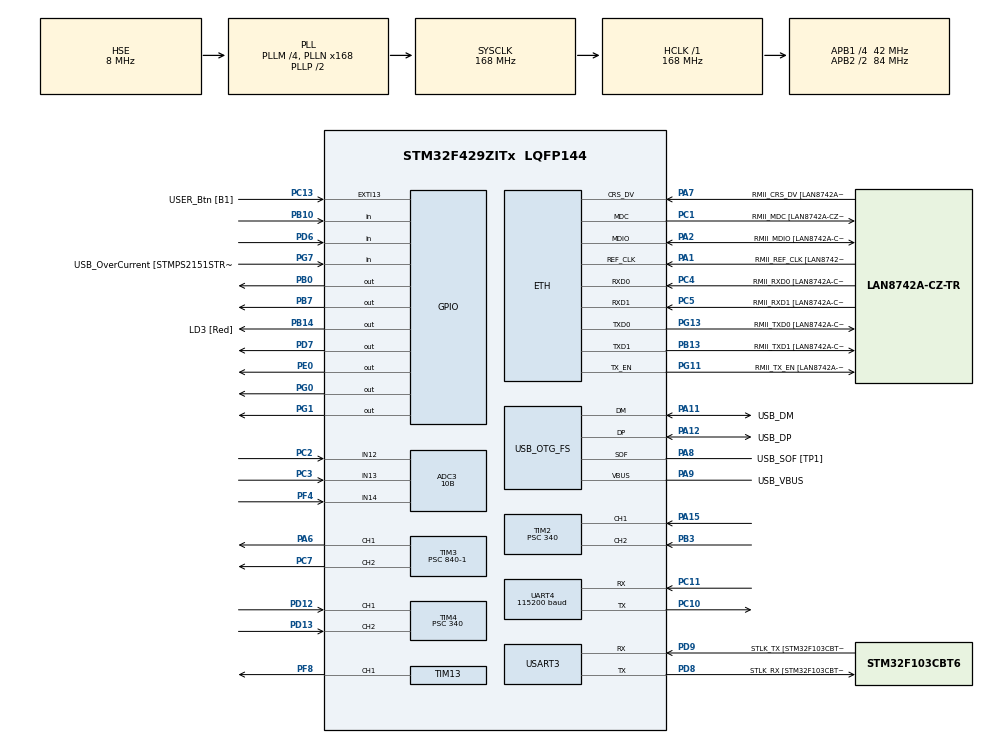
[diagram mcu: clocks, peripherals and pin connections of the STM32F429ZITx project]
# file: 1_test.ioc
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ADC3.Channel-3\#ChannelRegularConversion=ADC_CHANNEL_12
ADC3.Channel-4\#ChannelRegularConversion=ADC_CHANNEL_13
ADC3.Channel-5\#ChannelRegularConversion=ADC_CHANNEL_14
ADC3.ContinuousConvMode=DISABLE
ADC3.DMAContinuousRequests=ENABLE
ADC3.ExternalTrigConv=ADC_EXTERNALTRIGCONV_T8_TRGO
ADC3.NbrOfConversion=3
ADC3.NbrOfConversionFlag=1
ADC3.Rank-3\#ChannelRegularConversion=1
ADC3.Rank-4\#ChannelRegularConversion=2
ADC3.Rank-5\#ChannelRegularConversion=3
ADC3.Resolution=ADC_RESOLUTION_10B
ADC3.SamplingTime-3\#ChannelRegularConversion=ADC_SAMPLETIME_480CYCLES
ADC3.SamplingTime-4\#ChannelRegularConversion=ADC_SAMPLETIME_480CYCLES
ADC3.SamplingTime-5\#ChannelRegularConversion=ADC_SAMPLETIME_480CYCLES
ADC3.ScanConvMode=ENABLE
Dma.ADC3.1.Direction=DMA_PERIPH_TO_MEMORY
Dma.ADC3.1.FIFOMode=DMA_FIFOMODE_DISABLE
Dma.ADC3.1.Instance=DMA2_Stream1
Dma.ADC3.1.MemDataAlignment=DMA_MDATAALIGN_HALFWORD
Dma.ADC3.1.MemInc=DMA_MINC_ENABLE
Dma.ADC3.1.Mode=DMA_CIRCULAR
Dma.ADC3.1.PeriphDataAlignment=DMA_PDATAALIGN_HALFWORD
Dma.ADC3.1.PeriphInc=DMA_PINC_DISABLE
Dma.ADC3.1.Priority=DMA_PRIORITY_LOW
Dma.Request0=TIM4_UP
Dma.Request1=ADC3
Dma.TIM4_UP.0.Direction=DMA_PERIPH_TO_MEMORY
Dma.TIM4_UP.0.FIFOMode=DMA_FIFOMODE_DISABLE
Dma.TIM4_UP.0.Instance=DMA1_Stream6
Dma.TIM4_UP.0.MemDataAlignment=DMA_MDATAALIGN_HALFWORD
Dma.TIM4_UP.0.MemInc=DMA_MINC_ENABLE
Dma.TIM4_UP.0.Mode=DMA_NORMAL
Dma.TIM4_UP.0.PeriphDataAlignment=DMA_PDATAALIGN_HALFWORD
Dma.TIM4_UP.0.PeriphInc=DMA_PINC_DISABLE
Dma.TIM4_UP.0.Priority=DMA_PRIORITY_LOW
ETH.MediaInterface=HAL_ETH_RMII_MODE
ETH.PHY_Name=LAN8742A_PHY_ADDRESS
ETH.PHY_Value=0
ETH.PhyAddress=0
Mcu.Family=STM32F4
Mcu.Name=STM32F429ZITx
Mcu.Package=LQFP144
NVIC.ADC_IRQn=true\:0\:0\:false\:false\:true\:true\:true\:true
NVIC.DMA1_Stream6_IRQn=true\:0\:0\:false\:false\:true\:false\:true\:true
NVIC.DMA2_Stream1_IRQn=true\:0\:0\:false\:false\:true\:false\:true\:true
NVIC.PriorityGroup=NVIC_PRIORITYGROUP_4
NVIC.TIM3_IRQn=true\:0\:0\:false\:false\:true\:true\:true\:true
NVIC.TIM6_DAC_IRQn=true\:6\:0\:true\:false\:true\:true\:true\:true
NVIC.TIM8_TRG_COM_TIM14_IRQn=true\:0\:0\:false\:false\:true\:true\:true\:true
NVIC.TIM8_UP_TIM13_IRQn=true\:0\:0\:false\:false\:true\:true\:true\:true
NVIC.UART4_IRQn=true\:0\:0\:false\:false\:true\:true\:true\:true
NVIC.USART3_IRQn=true\:0\:0\:false\:false\:true\:true\:true\:true
PA1.GPIO_Label=RMII_REF_CLK [LAN8742A-CZ-TR_REFCLK0]
PA1.Mode=RMII
PA1.Signal=ETH_REF_CLK
PA10.GPIO_Label=USB_ID
PA10.Signal=USB_OTG_FS_ID
PA11.GPIO_Label=USB_DM
PA11.Mode=Device_Only
PA11.Signal=USB_OTG_FS_DM
PA12.GPIO_Label=USB_DP
PA12.Mode=Device_Only
PA12.Signal=USB_OTG_FS_DP
PA13.GPIO_Label=TMS
PA13.Mode=Serial_Wire
PA13.Signal=SYS_JTMS-SWDIO
PA14.GPIO_Label=TCK
PA14.Mode=Serial_Wire
PA14.Signal=SYS_JTCK-SWCLK
PA15.Signal=S_TIM2_CH1_ETR
PA2.GPIO_Label=RMII_MDIO [LAN8742A-CZ-TR_MDIO]
PA2.Mode=RMII
PA2.Signal=ETH_MDIO
PA6.Signal=S_TIM3_CH1
PA7.GPIO_Label=RMII_CRS_DV [LAN8742A-CZ-TR_CRS_DV]
PA7.Mode=RMII
PA7.Signal=ETH_CRS_DV
PA8.GPIO_Label=USB_SOF [TP1]
PA8.Mode=Activate_SOF_FS
PA8.Signal=USB_OTG_FS_SOF
PA9.GPIO_Label=USB_VBUS
PA9.Mode=Activate_VBUS
PA9.Signal=USB_OTG_FS_VBUS
PB0.Signal=GPIO_Output
PB10.Signal=GPIO_Input
PB13.GPIO_Label=RMII_TXD1 [LAN8742A-CZ-TR_TXD1]
PB13.Mode=RMII
PB13.Signal=ETH_TXD1
PB14.GPIO_Label=LD3 [Red]
PB14.Signal=GPIO_Output
PB3.Signal=S_TIM2_CH2
PB7.Signal=GPIO_Output
PC1.GPIO_Label=RMII_MDC [LAN8742A-CZ-TR_MDC]
PC1.Mode=RMII
PC1.Signal=ETH_MDC
PC10.Mode=Asynchronous
PC10.Signal=UART4_TX
PC11.Mode=Asynchronous
PC11.Signal=UART4_RX
PC13.GPIO_Label=USER_Btn [B1]
PC13.Signal=GPXTI13
PC14/OSC32_IN.Mode=LSE-External-Oscillator
PC14/OSC32_IN.Signal=RCC_OSC32_IN
PC15/OSC32_OUT.Mode=LSE-External-Oscillator
PC15/OSC32_OUT.Signal=RCC_OSC32_OUT
PC2.Signal=ADCx_IN12
PC3.Signal=ADCx_IN13
PC4.GPIO_Label=RMII_RXD0 [LAN8742A-CZ-TR_RXD0]
PC4.Mode=RMII
PC4.Signal=ETH_RXD0
PC5.GPIO_Label=RMII_RXD1 [LAN8742A-CZ-TR_RXD1]
PC5.Mode=RMII
PC5.Signal=ETH_RXD1
PC7.Signal=S_TIM3_CH2
PD12.Signal=S_TIM4_CH1
PD13.Signal=S_TIM4_CH2
PD6.Signal=GPIO_Input
PD7.Signal=GPIO_Output
PD8.GPIO_Label=STLK_RX [STM32F103CBT6_PA3]
PD8.Mode=Asynchronous
PD8.Signal=USART3_TX
PD9.GPIO_Label=STLK_TX [STM32F103CBT6_PA2]
PD9.Mode=Asynchronous
PD9.Signal=USART3_RX
PE0.Signal=GPIO_Output
PF4.Mode=IN14
PF4.Signal=ADC3_IN14
PF8.Signal=S_TIM13_CH1
PG0.Signal=GPIO_Output
PG1.Signal=GPIO_Output
PG11.GPIO_Label=RMII_TX_EN [LAN8742A-CZ-TR_TXEN]
PG11.Mode=RMII
PG11.Signal=ETH_TX_EN
PG13.GPIO_Label=RMII_TXD0 [LAN8742A-CZ-TR_TXD0]
PG13.Mode=RMII
PG13.Signal=ETH_TXD0
PG7.GPIO_Label=USB_OverCurrent [STMPS2151STR_FAULT]
PG7.Signal=GPIO_Input
PH0/OSC_IN.GPIO_Label=MCO [STM32F103CBT6_PA8]
PH0/OSC_IN.Mode=HSE-External-Clock-Source
PH0/OSC_IN.Signal=RCC_OSC_IN
PH1/OSC_OUT.Mode=HSE-External-Clock-Source
PH1/OSC_OUT.Signal=RCC_OSC_OUT
ProjectManager.HeapSize=0x200
ProjectManager.StackSize=0x400
ProjectManager.TargetToolchain=STM32CubeIDE
RCC.48MHZClocksFreq_Value=48000000
RCC.AHBFreq_Value=168000000
RCC.APB1CLKDivider=RCC_HCLK_DIV4
RCC.APB1Freq_Value=42000000
RCC.APB1TimFreq_Value=84000000
RCC.APB2CLKDivider=RCC_HCLK_DIV2
RCC.APB2Freq_Value=84000000
RCC.APB2TimCLKDivider=2
RCC.APB2TimFreq_Value=168000000
RCC.CortexFreq_Value=168000000
RCC.HCLKFreq_Value=168000000
RCC.HSE_VALUE=8000000
RCC.HSI_VALUE=16000000
RCC.PLLM=4
RCC.PLLMUL=RCC_PLL_MUL9
RCC.PLLN=168
RCC.PLLQ=7
RCC.PRESCALERUSB=RCC_USBCLKSOURCE_PLL_DIV1_5
RCC.SYSCLKFreq_VALUE=168000000
RCC.SYSCLKSource=RCC_SYSCLKSOURCE_PLLCLK
RCC.SYSCLKSourceVirtual=RCC_SYSCLKSOURCE_PLLCLK
RCC.USBFreq_Value=48000000
RCC.VCOOutputFreq_Value=336000000
SH.ADCx_IN12.0=ADC3_IN12,IN12
SH.ADCx_IN13.0=ADC3_IN13,IN13
SH.S_TIM13_CH1.0=TIM13_CH1,PWM Generation1 CH1
SH.S_TIM2_CH1_ETR.0=TIM2_CH1,Encoder_Interface
SH.S_TIM2_CH2.0=TIM2_CH2,Encoder_Interface
SH.S_TIM3_CH1.0=TIM3_CH1,PWM Generation1 CH1
SH.S_TIM3_CH2.0=TIM3_CH2,PWM Generation2 CH2
SH.S_TIM4_CH1.0=TIM4_CH1,Encoder_Interface
SH.S_TIM4_CH2.0=TIM4_CH2,Encoder_Interface
TIM1.Prescaler=84-1
TIM13.Channel=TIM_CHANNEL_1
TIM13.Period=100
TIM13.Prescaler=84
TIM13.Pulse=50
TIM14.Period=10000-1
TIM14.Prescaler=840-1
TIM2.EncoderMode=TIM_ENCODERMODE_TI12
TIM2.Period=65000
TIM2.Prescaler=340
TIM3.Channel-PWM\ Generation1\ CH1=TIM_CHANNEL_1
TIM3.Channel-PWM\ Generation2\ CH2=TIM_CHANNEL_2
TIM3.OC1Preload_PWM=DISABLE
TIM3.OC2Preload_PWM=DISABLE
TIM3.Period=1000-1
TIM3.Prescaler=840-1
TIM3.Pulse-PWM\ Generation1\ CH1=100
TIM3.Pulse-PWM\ Generation2\ CH2=100
TIM4.EncoderMode=TIM_ENCODERMODE_TI12
TIM4.Period=65000
TIM4.Prescaler=340
TIM6.Period=1000-1
TIM6.Prescaler=84-1
TIM8.Channel-Output\ Compare4\ No\ Output=TIM_CHANNEL_4
TIM8.Period=50-1
TIM8.Prescaler=840-1
TIM8.Pulse-Output\ Compare4\ No\ Output=2000
TIM8.TIM_MasterOutputTrigger=TIM_TRGO_UPDATE
UART4.BaudRate=115200
UART4.Parity=PARITY_EVEN
UART4.VirtualMode=Asynchronous
USART3.VirtualMode=VM_ASYNC
USB_OTG_FS.VirtualMode=Device_Only
VP_TIM13_VS_ClockSourceINT.Mode=Enable_Timer
VP_TIM14_VS_ClockSourceINT.Mode=Enable_Timer
VP_TIM1_VS_ClockSourceINT.Mode=Internal
VP_TIM3_VS_ClockSourceINT.Mode=Internal
VP_TIM6_VS_ClockSourceINT.Mode=Enable_Timer
VP_TIM8_VS_ClockSourceINT.Mode=Internal
VP_TIM8_VS_no_output4.Mode=Output Compare4 No Output
board=NUCLEO-F429ZI

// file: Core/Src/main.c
/* USER CODE BEGIN Header */
/**
  ******************************************************************************
  * @file           : main.c
  * @brief          : Main program body
  ******************************************************************************
  * @attention
  *
  * Copyright (c) 2024 STMicroelectronics.
  * All rights reserved.
  *
  * This software is licensed under terms that can be found in the LICENSE file
  * in the root directory of this software component.
  * If no LICENSE file comes with this software, it is provided AS-IS.
  *
  ******************************************************************************
  */
/* USER CODE END Header */
#include "main.h"
#include "string.h"

/* USER CODE BEGIN Includes */
#include "sensor.h"
#include "com.h"
#include "pid.h"
//ㅇㅇ

extern float Distance;
extern int position_start;

extern float battery_V;

uint8_t buffer[256];

uint8_t key_value;
UART_HandleTypeDef huart3;
uint8_t data;
UART_HandleTypeDef huart4;

uint32_t encoder_count=10000;
char uart_buf[30];

int8_t RX_flag=0;

uint32_t ENCODER_NEW, ENCODER_OLD;
float RPM;
float RPS;
uint16_t RPM_uint16;

uint16_t ADC1_value[2];
uint16_t ADC1_0;
uint16_t ADC1_1;

uint8_t ENC[4];

uint16_t ADC3_value[3];

//       @@@@@@@@@@@@@@@@@@@@@@@@@@@@@@@@@@@@@@@@@@@@@@@@  PID

float Ra =12.1;
float Kt = 4.534;
float Ke = 4.534;
float B = 0.09;
float Js = 1.84;
float La = 0.0003342;
//float Wci = 804.2;
float Wci = 3142;
//float Wcw = 80.42;
float Wcw = 314;
float a = 0.9;

//I control
float i_input;
float i_sensor;
float i_error;
float i_error_sum=0;
float i_kp = 0.0003342 * 3142 ;
float i_ki = 12.1 * 3142;
float i_ka = 1/(0.0003342 * 3142);
float i_vs=0;
float i_v_ref=0;

float I_KP;
float I_KI;

//Speed control

float speed_sensor;
float speed_error;
float speed_error_sum = 0.0;
//float speed_kp = 0.9* 1.84*314/4.534;  //a*Js*Wcw/Kt =114.6
//float speed_ki =1.84*314*314/(5*4.534);   //Js*Wcw*Wcw/(5*Kt) = 8002
float speed_kp=1;
float speed_ki=0;

float speed_ka = 1/(1.84*314/4.534);  //1/(Js*Wcw/Kt) =
float speed_is=0;
float speed_i_ref=0;
float speed_kps = (1-0.9)*1.84*314/4.534 ;  //(1-a)*Js*Wcw/Kt =12.7

float S_KP;
float S_KI;
float Omega;

float x=0;
double duty=0;

extern uint8_t time_1s;
extern float set_position;

extern uint8_t stop_flag;
extern int tim14_flag;
extern int tim6_flag;
extern int tim13_flag;
  int count=0;
float f = 1.234;

/* USER CODE END Includes */

ETH_TxPacketConfig TxConfig;
ETH_DMADescTypeDef  DMARxDscrTab[ETH_RX_DESC_CNT]; /* Ethernet Rx DMA Descriptors */
ETH_DMADescTypeDef  DMATxDscrTab[ETH_TX_DESC_CNT]; /* Ethernet Tx DMA Descriptors */

ADC_HandleTypeDef hadc3;
DMA_HandleTypeDef hdma_adc3;

ETH_HandleTypeDef heth;

TIM_HandleTypeDef htim1;
TIM_HandleTypeDef htim2;
TIM_HandleTypeDef htim3;
TIM_HandleTypeDef htim4;
TIM_HandleTypeDef htim6;
TIM_HandleTypeDef htim8;
TIM_HandleTypeDef htim13;
TIM_HandleTypeDef htim14;
DMA_HandleTypeDef hdma_tim4_up;

UART_HandleTypeDef huart4;
UART_HandleTypeDef huart3;

PCD_HandleTypeDef hpcd_USB_OTG_FS;

void SystemClock_Config(void);
static void MX_GPIO_Init(void);
static void MX_DMA_Init(void);
static void MX_ETH_Init(void);
static void MX_USART3_UART_Init(void);
static void MX_USB_OTG_FS_PCD_Init(void);
static void MX_TIM3_Init(void);
static void MX_TIM14_Init(void);
static void MX_TIM4_Init(void);
static void MX_UART4_Init(void);
static void MX_TIM2_Init(void);
static void MX_TIM8_Init(void);
static void MX_TIM6_Init(void);
static void MX_TIM13_Init(void);
static void MX_TIM1_Init(void);
static void MX_ADC3_Init(void);

int main(void)
{

  /* MCU Configuration--------------------------------------------------------*/

  /* Reset of all peripherals, Initializes the Flash interface and the Systick. */
  HAL_Init();

  /* Configure the system clock */
  SystemClock_Config();

  /* Initialize all configured peripherals */
  MX_GPIO_Init();
  MX_DMA_Init();
  MX_ETH_Init();
  MX_USART3_UART_Init();
  MX_USB_OTG_FS_PCD_Init();
  MX_TIM3_Init();
  MX_TIM14_Init();
  MX_TIM4_Init();
  MX_UART4_Init();
  MX_TIM2_Init();
  MX_TIM8_Init();
  MX_TIM6_Init();
  MX_TIM13_Init();
  MX_TIM1_Init();
  MX_ADC3_Init();
  /* USER CODE BEGIN 2 */

  HAL_UART_Receive_IT(&huart3, &key_value, 1);
  HAL_UART_Receive_IT(&huart4, &data, 1);

  HAL_ADC_Start_DMA(&hadc3, (uint32_t*)ADC3_value, 3);

   HAL_TIM_Base_Start_IT(&htim6);

   HAL_TIM_Base_Start(&htim1);

  /* USER CODE END 2 */

  /* Infinite loop */
  while (1)
  {

    /* USER CODE BEGIN 3 */
	  if(tim6_flag==1)
	  {
		  distance_sencor();  //거리?��?��

	       tim6_flag=0;
	  }
	  else if(tim14_flag==20) //2�? ???���?
	  {
		   // RPM_uint16=RPM*100;
		  RPM_uint16=battery_V*100;
		    ENC[3]=RPM_uint16 / 1000;		// 10000 ?���???????????????????????????????????????
    	    ENC[2]=RPM_uint16 % 1000/100;	// 1000 ?���???????????????????????????????????????
			ENC[1]= RPM_uint16 % 100/10;	// 100 ?���???????????????????????????????????????
		 	ENC[0]=RPM_uint16 % 10/1;		// 10 ?���???????????????????????????????????????

		   	SerialSendChar_WIFI('?');

/*			SerialSendChar_WIFI('0');
			SerialSendChar_WIFI('0');
			SerialSendChar_WIFI('0');
	     	SerialSendChar_WIFI('0');

	     	SerialSendChar_WIFI('5');
	     	SerialSendChar_WIFI('6');
	     	SerialSendChar_WIFI('7');
	     	SerialSendChar_WIFI('8');
*/
		//    SerialSendChar_WIFI(ENC[3]+0x30);
		 //   SerialSendChar_WIFI(ENC[2]+0x30);
		// 	SerialSendChar_WIFI(ENC[1]+0x30);
	      //  SerialSendChar_WIFI(ENC[0]+0x30);

	 sprintf((char *)buffer, "%d \r\n",RPM_uint16);
  	HAL_UART_Transmit(&huart3, buffer, strlen((char *)buffer), 100);
 //	 printf("%d \n\r",RPM_uint16);

		//  	SerialSendChar_PC('\n');
		// 	SerialSendChar_PC('\r');

		 sprintf((char *)buffer, "%d \r\n",RPM_uint16);
	 	HAL_UART_Transmit(&huart4, buffer, strlen((char *)buffer), 100);

		 	//  	  HAL_Delay(2000);

		  tim14_flag=0;
	  }
	  else if(tim13_flag==1)
	  {
		  if(position_start==1)
		  	{
			  position_pid();

			  tim13_flag=0;
		    }
	  }

	  if(RX_flag==1)
	  {
		 // RX_flag=0;
		//  TIM4->CNT=0;
	  	 		TIM3->CCR1 = 1000;
	  	 		TIM3->CCR2 = 1000;
	  	 			if(encoder_count>=1200)
	  		 		{
	  	 				TIM3->CCR1 = 50;

	  	 				GPIOG->ODR |= 1<<0;
	  	 				HAL_Delay(100);
	  	 				GPIOG->ODR &= ~1<<0;
	  	 				TIM3->CCR1 = 50;
	  	 				if(encoder_count>=512*3)
	  	 				{
	  	 					TIM3->CCR1 = 0;
	  	 					RX_flag=0;
	  	 				}

	  	 	     	}

	  }

//	  HAL_Delay(1);

  }
  /* USER CODE END 3 */
}

void SystemClock_Config(void)
{
  RCC_OscInitTypeDef RCC_OscInitStruct = {0};
  RCC_ClkInitTypeDef RCC_ClkInitStruct = {0};

  /** Configure the main internal regulator output voltage
  */
  __HAL_RCC_PWR_CLK_ENABLE();
  __HAL_PWR_VOLTAGESCALING_CONFIG(PWR_REGULATOR_VOLTAGE_SCALE1);

  /** Initializes the RCC Oscillators according to the specified parameters
  * in the RCC_OscInitTypeDef structure.
  */
  RCC_OscInitStruct.OscillatorType = RCC_OSCILLATORTYPE_HSE;
  RCC_OscInitStruct.HSEState = RCC_HSE_BYPASS;
  RCC_OscInitStruct.PLL.PLLState = RCC_PLL_ON;
  RCC_OscInitStruct.PLL.PLLSource = RCC_PLLSOURCE_HSE;
  RCC_OscInitStruct.PLL.PLLM = 4;
  RCC_OscInitStruct.PLL.PLLN = 168;
  RCC_OscInitStruct.PLL.PLLP = RCC_PLLP_DIV2;
  RCC_OscInitStruct.PLL.PLLQ = 7;
  if (HAL_RCC_OscConfig(&RCC_OscInitStruct) != HAL_OK)
  {
    Error_Handler();
  }

  /** Initializes the CPU, AHB and APB buses clocks
  */
  RCC_ClkInitStruct.ClockType = RCC_CLOCKTYPE_HCLK|RCC_CLOCKTYPE_SYSCLK
                              |RCC_CLOCKTYPE_PCLK1|RCC_CLOCKTYPE_PCLK2;
  RCC_ClkInitStruct.SYSCLKSource = RCC_SYSCLKSOURCE_PLLCLK;
  RCC_ClkInitStruct.AHBCLKDivider = RCC_SYSCLK_DIV1;
  RCC_ClkInitStruct.APB1CLKDivider = RCC_HCLK_DIV4;
  RCC_ClkInitStruct.APB2CLKDivider = RCC_HCLK_DIV2;

  if (HAL_RCC_ClockConfig(&RCC_ClkInitStruct, FLASH_LATENCY_5) != HAL_OK)
  {
    Error_Handler();
  }
}

static void MX_ADC3_Init(void)
{

  ADC_ChannelConfTypeDef sConfig = {0};

  /** Configure the global features of the ADC (Clock, Resolution, Data Alignment and number of conversion)
  */
  hadc3.Instance = ADC3;
  hadc3.Init.ClockPrescaler = ADC_CLOCK_SYNC_PCLK_DIV4;
  hadc3.Init.Resolution = ADC_RESOLUTION_10B;
  hadc3.Init.ScanConvMode = ENABLE;
  hadc3.Init.ContinuousConvMode = DISABLE;
  hadc3.Init.DiscontinuousConvMode = DISABLE;
  hadc3.Init.ExternalTrigConvEdge = ADC_EXTERNALTRIGCONVEDGE_RISING;
  hadc3.Init.ExternalTrigConv = ADC_EXTERNALTRIGCONV_T8_TRGO;
  hadc3.Init.DataAlign = ADC_DATAALIGN_RIGHT;
  hadc3.Init.NbrOfConversion = 3;
  hadc3.Init.DMAContinuousRequests = ENABLE;
  hadc3.Init.EOCSelection = ADC_EOC_SINGLE_CONV;
  if (HAL_ADC_Init(&hadc3) != HAL_OK)
  {
    Error_Handler();
  }

  /** Configure for the selected ADC regular channel its corresponding rank in the sequencer and its sample time.
  */
  sConfig.Channel = ADC_CHANNEL_12;
  sConfig.Rank = 1;
  sConfig.SamplingTime = ADC_SAMPLETIME_480CYCLES;
  if (HAL_ADC_ConfigChannel(&hadc3, &sConfig) != HAL_OK)
  {
    Error_Handler();
  }

  /** Configure for the selected ADC regular channel its corresponding rank in the sequencer and its sample time.
  */
  sConfig.Channel = ADC_CHANNEL_13;
  sConfig.Rank = 2;
  if (HAL_ADC_ConfigChannel(&hadc3, &sConfig) != HAL_OK)
  {
    Error_Handler();
  }

  /** Configure for the selected ADC regular channel its corresponding rank in the sequencer and its sample time.
  */
  sConfig.Channel = ADC_CHANNEL_14;
  sConfig.Rank = 3;
  if (HAL_ADC_ConfigChannel(&hadc3, &sConfig) != HAL_OK)
  {
    Error_Handler();
  }

}

static void MX_ETH_Init(void)
{

   static uint8_t MACAddr[6];

  heth.Instance = ETH;
  MACAddr[0] = 0x00;
  MACAddr[1] = 0x80;
  MACAddr[2] = 0xE1;
  MACAddr[3] = 0x00;
  MACAddr[4] = 0x00;
  MACAddr[5] = 0x00;
  heth.Init.MACAddr = &MACAddr[0];
  heth.Init.MediaInterface = HAL_ETH_RMII_MODE;
  heth.Init.TxDesc = DMATxDscrTab;
  heth.Init.RxDesc = DMARxDscrTab;
  heth.Init.RxBuffLen = 1524;

  if (HAL_ETH_Init(&heth) != HAL_OK)
  {
    Error_Handler();
  }

  memset(&TxConfig, 0 , sizeof(ETH_TxPacketConfig));
  TxConfig.Attributes = ETH_TX_PACKETS_FEATURES_CSUM | ETH_TX_PACKETS_FEATURES_CRCPAD;
  TxConfig.ChecksumCtrl = ETH_CHECKSUM_IPHDR_PAYLOAD_INSERT_PHDR_CALC;
  TxConfig.CRCPadCtrl = ETH_CRC_PAD_INSERT;

}

static void MX_TIM1_Init(void)
{

  TIM_ClockConfigTypeDef sClockSourceConfig = {0};
  TIM_MasterConfigTypeDef sMasterConfig = {0};

  htim1.Instance = TIM1;
  htim1.Init.Prescaler = 84-1;
  htim1.Init.CounterMode = TIM_COUNTERMODE_UP;
  htim1.Init.Period = 65535;
  htim1.Init.ClockDivision = TIM_CLOCKDIVISION_DIV1;
  htim1.Init.RepetitionCounter = 0;
  htim1.Init.AutoReloadPreload = TIM_AUTORELOAD_PRELOAD_DISABLE;
  if (HAL_TIM_Base_Init(&htim1) != HAL_OK)
  {
    Error_Handler();
  }
  sClockSourceConfig.ClockSource = TIM_CLOCKSOURCE_INTERNAL;
  if (HAL_TIM_ConfigClockSource(&htim1, &sClockSourceConfig) != HAL_OK)
  {
    Error_Handler();
  }
  sMasterConfig.MasterOutputTrigger = TIM_TRGO_RESET;
  sMasterConfig.MasterSlaveMode = TIM_MASTERSLAVEMODE_DISABLE;
  if (HAL_TIMEx_MasterConfigSynchronization(&htim1, &sMasterConfig) != HAL_OK)
  {
    Error_Handler();
  }

}

static void MX_TIM2_Init(void)
{

  TIM_Encoder_InitTypeDef sConfig = {0};
  TIM_MasterConfigTypeDef sMasterConfig = {0};

  htim2.Instance = TIM2;
  htim2.Init.Prescaler = 340;
  htim2.Init.CounterMode = TIM_COUNTERMODE_UP;
  htim2.Init.Period = 65000;
  htim2.Init.ClockDivision = TIM_CLOCKDIVISION_DIV1;
  htim2.Init.AutoReloadPreload = TIM_AUTORELOAD_PRELOAD_DISABLE;
  sConfig.EncoderMode = TIM_ENCODERMODE_TI12;
  sConfig.IC1Polarity = TIM_ICPOLARITY_RISING;
  sConfig.IC1Selection = TIM_ICSELECTION_DIRECTTI;
  sConfig.IC1Prescaler = TIM_ICPSC_DIV1;
  sConfig.IC1Filter = 0;
  sConfig.IC2Polarity = TIM_ICPOLARITY_RISING;
  sConfig.IC2Selection = TIM_ICSELECTION_DIRECTTI;
  sConfig.IC2Prescaler = TIM_ICPSC_DIV1;
  sConfig.IC2Filter = 0;
  if (HAL_TIM_Encoder_Init(&htim2, &sConfig) != HAL_OK)
  {
    Error_Handler();
  }
  sMasterConfig.MasterOutputTrigger = TIM_TRGO_RESET;
  sMasterConfig.MasterSlaveMode = TIM_MASTERSLAVEMODE_DISABLE;
  if (HAL_TIMEx_MasterConfigSynchronization(&htim2, &sMasterConfig) != HAL_OK)
  {
    Error_Handler();
  }
  /* USER CODE BEGIN TIM2_Init 2 */
  HAL_TIM_Encoder_Start(&htim2, TIM_CHANNEL_ALL);
  /* USER CODE END TIM2_Init 2 */

}

static void MX_TIM3_Init(void)
{

  TIM_ClockConfigTypeDef sClockSourceConfig = {0};
  TIM_MasterConfigTypeDef sMasterConfig = {0};
  TIM_OC_InitTypeDef sConfigOC = {0};

  htim3.Instance = TIM3;
  htim3.Init.Prescaler = 840-1;
  htim3.Init.CounterMode = TIM_COUNTERMODE_UP;
  htim3.Init.Period = 1000-1;
  htim3.Init.ClockDivision = TIM_CLOCKDIVISION_DIV1;
  htim3.Init.AutoReloadPreload = TIM_AUTORELOAD_PRELOAD_DISABLE;
  if (HAL_TIM_Base_Init(&htim3) != HAL_OK)
  {
    Error_Handler();
  }
  sClockSourceConfig.ClockSource = TIM_CLOCKSOURCE_INTERNAL;
  if (HAL_TIM_ConfigClockSource(&htim3, &sClockSourceConfig) != HAL_OK)
  {
    Error_Handler();
  }
  if (HAL_TIM_PWM_Init(&htim3) != HAL_OK)
  {
    Error_Handler();
  }
  sMasterConfig.MasterOutputTrigger = TIM_TRGO_RESET;
  sMasterConfig.MasterSlaveMode = TIM_MASTERSLAVEMODE_DISABLE;
  if (HAL_TIMEx_MasterConfigSynchronization(&htim3, &sMasterConfig) != HAL_OK)
  {
    Error_Handler();
  }
  sConfigOC.OCMode = TIM_OCMODE_PWM1;
  sConfigOC.Pulse = 100;
  sConfigOC.OCPolarity = TIM_OCPOLARITY_HIGH;
  sConfigOC.OCFastMode = TIM_OCFAST_DISABLE;
  if (HAL_TIM_PWM_ConfigChannel(&htim3, &sConfigOC, TIM_CHANNEL_1) != HAL_OK)
  {
    Error_Handler();
  }
  __HAL_TIM_DISABLE_OCxPRELOAD(&htim3, TIM_CHANNEL_1);
  if (HAL_TIM_PWM_ConfigChannel(&htim3, &sConfigOC, TIM_CHANNEL_2) != HAL_OK)
  {
    Error_Handler();
  }
  __HAL_TIM_DISABLE_OCxPRELOAD(&htim3, TIM_CHANNEL_2);
  /* USER CODE BEGIN TIM3_Init 2 */
  TIM3->DIER |= (1<<1);   // CC1IE: Enable the Tim3 CC1 interrupt
   NVIC->ISER[0] |= (1<<29); // TIM3_CC
   TIM3->CCER	|= (1<<0);	// CC1E=1: OC1(TIM5_CH1) Active(Capture/Compare 1 output enable)
    					// ?��?��??(40�??????????????????????????????????????????)?�� ?��?�� ?��?��출력
   TIM3->CR1	|= (1<<0);	// CEN: Counter TIM3 enable

  HAL_TIM_PWM_Start_IT(&htim3, TIM_CHANNEL_1);

  /* USER CODE END TIM3_Init 2 */
  HAL_TIM_MspPostInit(&htim3);

}

static void MX_TIM4_Init(void)
{

  TIM_Encoder_InitTypeDef sConfig = {0};
  TIM_MasterConfigTypeDef sMasterConfig = {0};

  htim4.Instance = TIM4;
  htim4.Init.Prescaler = 340;
  htim4.Init.CounterMode = TIM_COUNTERMODE_UP;
  htim4.Init.Period = 65000;
  htim4.Init.ClockDivision = TIM_CLOCKDIVISION_DIV1;
  htim4.Init.AutoReloadPreload = TIM_AUTORELOAD_PRELOAD_DISABLE;
  sConfig.EncoderMode = TIM_ENCODERMODE_TI12;
  sConfig.IC1Polarity = TIM_ICPOLARITY_RISING;
  sConfig.IC1Selection = TIM_ICSELECTION_DIRECTTI;
  sConfig.IC1Prescaler = TIM_ICPSC_DIV1;
  sConfig.IC1Filter = 0;
  sConfig.IC2Polarity = TIM_ICPOLARITY_RISING;
  sConfig.IC2Selection = TIM_ICSELECTION_DIRECTTI;
  sConfig.IC2Prescaler = TIM_ICPSC_DIV1;
  sConfig.IC2Filter = 0;
  if (HAL_TIM_Encoder_Init(&htim4, &sConfig) != HAL_OK)
  {
    Error_Handler();
  }
  sMasterConfig.MasterOutputTrigger = TIM_TRGO_RESET;
  sMasterConfig.MasterSlaveMode = TIM_MASTERSLAVEMODE_DISABLE;
  if (HAL_TIMEx_MasterConfigSynchronization(&htim4, &sMasterConfig) != HAL_OK)
  {
    Error_Handler();
  }
  /* USER CODE BEGIN TIM4_Init 2 */
  HAL_TIM_Encoder_Start(&htim4, TIM_CHANNEL_ALL);
  /* USER CODE END TIM4_Init 2 */

}

static void MX_TIM6_Init(void)
{

  TIM_MasterConfigTypeDef sMasterConfig = {0};

  htim6.Instance = TIM6;
  htim6.Init.Prescaler = 84-1;
  htim6.Init.CounterMode = TIM_COUNTERMODE_UP;
  htim6.Init.Period = 1000-1;
  htim6.Init.AutoReloadPreload = TIM_AUTORELOAD_PRELOAD_DISABLE;
  if (HAL_TIM_Base_Init(&htim6) != HAL_OK)
  {
    Error_Handler();
  }
  sMasterConfig.MasterOutputTrigger = TIM_TRGO_RESET;
  sMasterConfig.MasterSlaveMode = TIM_MASTERSLAVEMODE_DISABLE;
  if (HAL_TIMEx_MasterConfigSynchronization(&htim6, &sMasterConfig) != HAL_OK)
  {
    Error_Handler();
  }
  /* USER CODE BEGIN TIM6_Init 2 */
  HAL_TIM_Base_Start_IT(&htim6);
  /* USER CODE END TIM6_Init 2 */

}

static void MX_TIM8_Init(void)
{

  TIM_ClockConfigTypeDef sClockSourceConfig = {0};
  TIM_MasterConfigTypeDef sMasterConfig = {0};
  TIM_OC_InitTypeDef sConfigOC = {0};
  TIM_BreakDeadTimeConfigTypeDef sBreakDeadTimeConfig = {0};

  htim8.Instance = TIM8;
  htim8.Init.Prescaler = 840-1;
  htim8.Init.CounterMode = TIM_COUNTERMODE_UP;
  htim8.Init.Period = 50-1;
  htim8.Init.ClockDivision = TIM_CLOCKDIVISION_DIV1;
  htim8.Init.RepetitionCounter = 0;
  htim8.Init.AutoReloadPreload = TIM_AUTORELOAD_PRELOAD_DISABLE;
  if (HAL_TIM_Base_Init(&htim8) != HAL_OK)
  {
    Error_Handler();
  }
  sClockSourceConfig.ClockSource = TIM_CLOCKSOURCE_INTERNAL;
  if (HAL_TIM_ConfigClockSource(&htim8, &sClockSourceConfig) != HAL_OK)
  {
    Error_Handler();
  }
  if (HAL_TIM_OC_Init(&htim8) != HAL_OK)
  {
    Error_Handler();
  }
  sMasterConfig.MasterOutputTrigger = TIM_TRGO_UPDATE;
  sMasterConfig.MasterSlaveMode = TIM_MASTERSLAVEMODE_DISABLE;
  if (HAL_TIMEx_MasterConfigSynchronization(&htim8, &sMasterConfig) != HAL_OK)
  {
    Error_Handler();
  }
  sConfigOC.OCMode = TIM_OCMODE_TIMING;
  sConfigOC.Pulse = 2000;
  sConfigOC.OCPolarity = TIM_OCPOLARITY_HIGH;
  sConfigOC.OCFastMode = TIM_OCFAST_DISABLE;
  sConfigOC.OCIdleState = TIM_OCIDLESTATE_RESET;
  sConfigOC.OCNIdleState = TIM_OCNIDLESTATE_RESET;
  if (HAL_TIM_OC_ConfigChannel(&htim8, &sConfigOC, TIM_CHANNEL_4) != HAL_OK)
  {
    Error_Handler();
  }
  sBreakDeadTimeConfig.OffStateRunMode = TIM_OSSR_DISABLE;
  sBreakDeadTimeConfig.OffStateIDLEMode = TIM_OSSI_DISABLE;
  sBreakDeadTimeConfig.LockLevel = TIM_LOCKLEVEL_OFF;
  sBreakDeadTimeConfig.DeadTime = 0;
  sBreakDeadTimeConfig.BreakState = TIM_BREAK_DISABLE;
  sBreakDeadTimeConfig.BreakPolarity = TIM_BREAKPOLARITY_HIGH;
  sBreakDeadTimeConfig.AutomaticOutput = TIM_AUTOMATICOUTPUT_DISABLE;
  if (HAL_TIMEx_ConfigBreakDeadTime(&htim8, &sBreakDeadTimeConfig) != HAL_OK)
  {
    Error_Handler();
  }
  /* USER CODE BEGIN TIM8_Init 2 */
  HAL_TIM_Base_Start_IT(&htim8);
  /* USER CODE END TIM8_Init 2 */

}

static void MX_TIM13_Init(void)
{

  TIM_OC_InitTypeDef sConfigOC = {0};

  htim13.Instance = TIM13;
  htim13.Init.Prescaler = 84;
  htim13.Init.CounterMode = TIM_COUNTERMODE_UP;
  htim13.Init.Period = 100;
  htim13.Init.ClockDivision = TIM_CLOCKDIVISION_DIV1;
  htim13.Init.AutoReloadPreload = TIM_AUTORELOAD_PRELOAD_DISABLE;
  if (HAL_TIM_Base_Init(&htim13) != HAL_OK)
  {
    Error_Handler();
  }
  if (HAL_TIM_PWM_Init(&htim13) != HAL_OK)
  {
    Error_Handler();
  }
  sConfigOC.OCMode = TIM_OCMODE_PWM1;
  sConfigOC.Pulse = 50;
  sConfigOC.OCPolarity = TIM_OCPOLARITY_HIGH;
  sConfigOC.OCFastMode = TIM_OCFAST_DISABLE;
  if (HAL_TIM_PWM_ConfigChannel(&htim13, &sConfigOC, TIM_CHANNEL_1) != HAL_OK)
  {
    Error_Handler();
  }
  /* USER CODE BEGIN TIM13_Init 2 */
  HAL_TIM_MspPostInit(&htim13);
  /* USER CODE END TIM13_Init 2 */
  HAL_TIM_MspPostInit(&htim13);

}

static void MX_TIM14_Init(void)
{

  htim14.Instance = TIM14;
  htim14.Init.Prescaler = 840-1;
  htim14.Init.CounterMode = TIM_COUNTERMODE_UP;
  htim14.Init.Period = 10000-1;
  htim14.Init.ClockDivision = TIM_CLOCKDIVISION_DIV1;
  htim14.Init.AutoReloadPreload = TIM_AUTORELOAD_PRELOAD_DISABLE;
  if (HAL_TIM_Base_Init(&htim14) != HAL_OK)
  {
    Error_Handler();
  }
  /* USER CODE BEGIN TIM14_Init 2 */
  TIM14->DIER |= (1<<0);   // CC1IE: Enable the Tim14 UG interrupt
   NVIC->ISER[1] |= (1<<(45-32)); // TIM14_CC

   TIM14->CR1	|= (1<<0);	// CEN: Counter TIM14 enable

  /* USER CODE END TIM14_Init 2 */

}

static void MX_UART4_Init(void)
{

  huart4.Instance = UART4;
  huart4.Init.BaudRate = 115200;
  huart4.Init.WordLength = UART_WORDLENGTH_8B;
  huart4.Init.StopBits = UART_STOPBITS_1;
  huart4.Init.Parity = UART_PARITY_EVEN;
  huart4.Init.Mode = UART_MODE_TX_RX;
  huart4.Init.HwFlowCtl = UART_HWCONTROL_NONE;
  huart4.Init.OverSampling = UART_OVERSAMPLING_16;
  if (HAL_UART_Init(&huart4) != HAL_OK)
  {
    Error_Handler();
  }

}

static void MX_USART3_UART_Init(void)
{

  huart3.Instance = USART3;
  huart3.Init.BaudRate = 115200;
  huart3.Init.WordLength = UART_WORDLENGTH_8B;
  huart3.Init.StopBits = UART_STOPBITS_1;
  huart3.Init.Parity = UART_PARITY_NONE;
  huart3.Init.Mode = UART_MODE_TX_RX;
  huart3.Init.HwFlowCtl = UART_HWCONTROL_NONE;
  huart3.Init.OverSampling = UART_OVERSAMPLING_16;
  if (HAL_UART_Init(&huart3) != HAL_OK)
  {
    Error_Handler();
  }

}

static void MX_USB_OTG_FS_PCD_Init(void)
{

  hpcd_USB_OTG_FS.Instance = USB_OTG_FS;
  hpcd_USB_OTG_FS.Init.dev_endpoints = 4;
  hpcd_USB_OTG_FS.Init.speed = PCD_SPEED_FULL;
  hpcd_USB_OTG_FS.Init.dma_enable = DISABLE;
  hpcd_USB_OTG_FS.Init.phy_itface = PCD_PHY_EMBEDDED;
  hpcd_USB_OTG_FS.Init.Sof_enable = ENABLE;
  hpcd_USB_OTG_FS.Init.low_power_enable = DISABLE;
  hpcd_USB_OTG_FS.Init.lpm_enable = DISABLE;
  hpcd_USB_OTG_FS.Init.vbus_sensing_enable = ENABLE;
  hpcd_USB_OTG_FS.Init.use_dedicated_ep1 = DISABLE;
  if (HAL_PCD_Init(&hpcd_USB_OTG_FS) != HAL_OK)
  {
    Error_Handler();
  }

}

static void MX_DMA_Init(void)
{

  /* DMA controller clock enable */
  __HAL_RCC_DMA1_CLK_ENABLE();
  __HAL_RCC_DMA2_CLK_ENABLE();

  /* DMA interrupt init */
  /* DMA1_Stream6_IRQn interrupt configuration */
  HAL_NVIC_SetPriority(DMA1_Stream6_IRQn, 0, 0);
  HAL_NVIC_EnableIRQ(DMA1_Stream6_IRQn);
  /* DMA2_Stream1_IRQn interrupt configuration */
  HAL_NVIC_SetPriority(DMA2_Stream1_IRQn, 0, 0);
  HAL_NVIC_EnableIRQ(DMA2_Stream1_IRQn);

}

static void MX_GPIO_Init(void)
{
  GPIO_InitTypeDef GPIO_InitStruct = {0};

  /* GPIO Ports Clock Enable */
  __HAL_RCC_GPIOC_CLK_ENABLE();
  __HAL_RCC_GPIOF_CLK_ENABLE();
  __HAL_RCC_GPIOH_CLK_ENABLE();
  __HAL_RCC_GPIOA_CLK_ENABLE();
  __HAL_RCC_GPIOB_CLK_ENABLE();
  __HAL_RCC_GPIOG_CLK_ENABLE();
  __HAL_RCC_GPIOD_CLK_ENABLE();
  __HAL_RCC_GPIOE_CLK_ENABLE();

  /*Configure GPIO pin Output Level */
  HAL_GPIO_WritePin(GPIOB, GPIO_PIN_0|LD3_Pin|GPIO_PIN_7, GPIO_PIN_RESET);

  /*Configure GPIO pin Output Level */
  HAL_GPIO_WritePin(GPIOG, GPIO_PIN_0|GPIO_PIN_1, GPIO_PIN_RESET);

  /*Configure GPIO pin Output Level */
  HAL_GPIO_WritePin(GPIOD, GPIO_PIN_7, GPIO_PIN_RESET);

  /*Configure GPIO pin Output Level */
  HAL_GPIO_WritePin(GPIOE, GPIO_PIN_0, GPIO_PIN_RESET);

  /*Configure GPIO pin : USER_Btn_Pin */
  GPIO_InitStruct.Pin = USER_Btn_Pin;
  GPIO_InitStruct.Mode = GPIO_MODE_IT_RISING;
  GPIO_InitStruct.Pull = GPIO_NOPULL;
  HAL_GPIO_Init(USER_Btn_GPIO_Port, &GPIO_InitStruct);

  /*Configure GPIO pins : PB0 LD3_Pin PB7 */
  GPIO_InitStruct.Pin = GPIO_PIN_0|LD3_Pin|GPIO_PIN_7;
  GPIO_InitStruct.Mode = GPIO_MODE_OUTPUT_PP;
  GPIO_InitStruct.Pull = GPIO_NOPULL;
  GPIO_InitStruct.Speed = GPIO_SPEED_FREQ_LOW;
  HAL_GPIO_Init(GPIOB, &GPIO_InitStruct);

  /*Configure GPIO pins : PG0 PG1 */
  GPIO_InitStruct.Pin = GPIO_PIN_0|GPIO_PIN_1;
  GPIO_InitStruct.Mode = GPIO_MODE_OUTPUT_PP;
  GPIO_InitStruct.Pull = GPIO_NOPULL;
  GPIO_InitStruct.Speed = GPIO_SPEED_FREQ_LOW;
  HAL_GPIO_Init(GPIOG, &GPIO_InitStruct);

  /*Configure GPIO pin : PB10 */
  GPIO_InitStruct.Pin = GPIO_PIN_10;
  GPIO_InitStruct.Mode = GPIO_MODE_INPUT;
  GPIO_InitStruct.Pull = GPIO_NOPULL;
  HAL_GPIO_Init(GPIOB, &GPIO_InitStruct);

  /*Configure GPIO pin : USB_OverCurrent_Pin */
  GPIO_InitStruct.Pin = USB_OverCurrent_Pin;
  GPIO_InitStruct.Mode = GPIO_MODE_INPUT;
  GPIO_InitStruct.Pull = GPIO_NOPULL;
  HAL_GPIO_Init(USB_OverCurrent_GPIO_Port, &GPIO_InitStruct);

  /*Configure GPIO pin : PD6 */
  GPIO_InitStruct.Pin = GPIO_PIN_6;
  GPIO_InitStruct.Mode = GPIO_MODE_INPUT;
  GPIO_InitStruct.Pull = GPIO_NOPULL;
  HAL_GPIO_Init(GPIOD, &GPIO_InitStruct);

  /*Configure GPIO pin : PD7 */
  GPIO_InitStruct.Pin = GPIO_PIN_7;
  GPIO_InitStruct.Mode = GPIO_MODE_OUTPUT_PP;
  GPIO_InitStruct.Pull = GPIO_NOPULL;
  GPIO_InitStruct.Speed = GPIO_SPEED_FREQ_LOW;
  HAL_GPIO_Init(GPIOD, &GPIO_InitStruct);

  /*Configure GPIO pin : PE0 */
  GPIO_InitStruct.Pin = GPIO_PIN_0;
  GPIO_InitStruct.Mode = GPIO_MODE_OUTPUT_PP;
  GPIO_InitStruct.Pull = GPIO_NOPULL;
  GPIO_InitStruct.Speed = GPIO_SPEED_FREQ_LOW;
  HAL_GPIO_Init(GPIOE, &GPIO_InitStruct);

}

void Error_Handler(void)
{
  __disable_irq();
  while (1)
  {
  }
}
